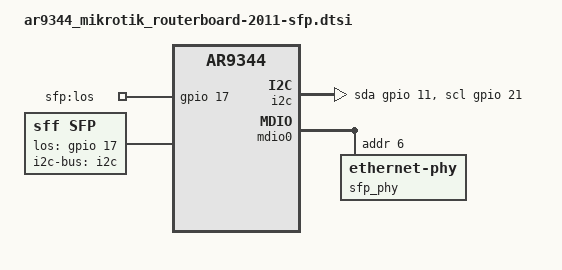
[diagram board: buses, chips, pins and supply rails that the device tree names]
// SPDX-License-Identifier: GPL-2.0-or-later OR MIT

/ {
	gpio-export {
		compatible = "gpio-export";

		sfp_los: gpio_sfp_los {
			gpio-export,name = "sfp:los";
			gpios = <&gpio 17 GPIO_ACTIVE_HIGH>;
		};
	};

	i2c: i2c {
		compatible = "i2c-gpio";
		sda-gpios = <&gpio 11 (GPIO_ACTIVE_HIGH | GPIO_OPEN_DRAIN)>;
		scl-gpios = <&gpio 21 (GPIO_ACTIVE_HIGH | GPIO_OPEN_DRAIN)>;
		i2c-gpio,delay-us = <2>;
		#address-cells = <1>;
		#size-cells = <0>;
	};

	sfp: sfp {
		compatible = "sff,sfp";
		i2c-bus = <&i2c>;
		los-gpios = <&gpio 17 GPIO_ACTIVE_HIGH>;
	};
};

&eth0 {
	port@6 {
		compatible = "swconfig,port";
		phy-handle = <&sfp_phy>;
		reg = <6>;
		swconfig,segment = "sfp";
		swconfig,portmap = <7 7>;
	};
};

&mdio0 {
	sfp_phy: ethernet-phy@6 {
		reg = <6>;
		sfp = <&sfp>;
	};
};
